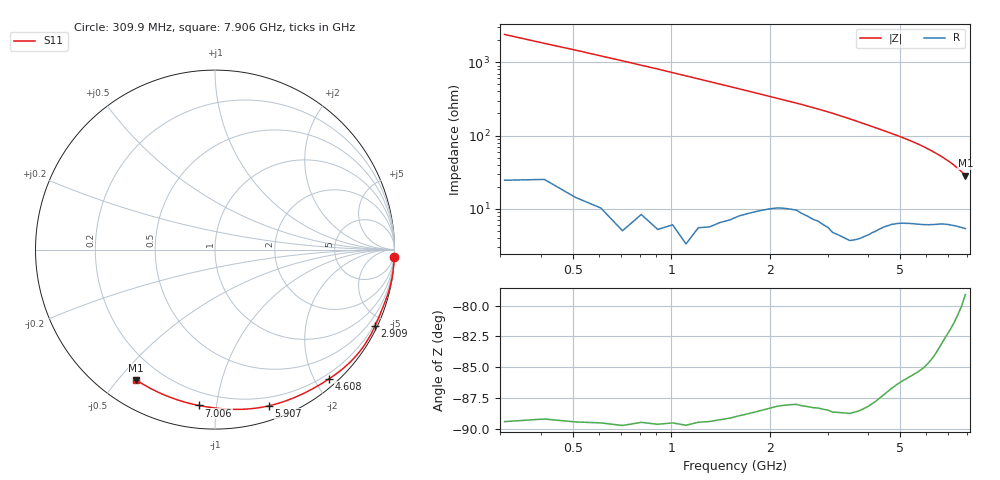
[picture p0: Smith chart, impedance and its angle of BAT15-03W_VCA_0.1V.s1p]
! Infineon Technologies  Discrete & RF Semiconductors
! BAT15-03W-E6327
! VCA = 0.1 V
! One-Port S-Parameters
# Hz  S  MA  R  50
!f  S11
!Hz  Mag  Ang
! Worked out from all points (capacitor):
!   77 points, 309.9 MHz to 7.906 GHz, reference 50 ohm
!   read as one part to ground: C = 215 fF near 309.9 MHz
!   lowest |Z| = 28.4 ohm at 7.906 GHz (marker M1)
!   S11 on the Smith chart (normalised r, x): 309.9 MHz: 0, -48; 2.909 GHz: 0.12, -4.39; 4.608 GHz: 0.12, -2.21; 5.907 GHz: 0.12, -1.40; 7.006 GHz: 0.12, -0.89; 7.906 GHz: 0.11, -0.56
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3.0985e8  0.9996 -2.4
9.0955e8  0.9992 -7.1
1.30935e9  0.9981 -10.5
1.70915e9  0.9949 -14.0
2.2089e9  0.9894 -18.6
2.50875e9  0.9881 -21.4
2.90855e9  0.988 -25.6
3.2084e9  0.9887 -29.1
3.50825e9  0.9881 -33.0
3.70815e9  0.9856 -35.7
4.10795e9  0.9766 -41.3
4.30785e9  0.9706 -44.2
4.6077e9  0.9604 -48.6
5.10745e9  0.9443 -56.4
5.30735e9  0.9387 -59.7
5.50725e9  0.9331 -63.2
5.70715e9  0.9274 -66.9
5.90705e9  0.921 -70.9
6.007e9  0.9171 -72.9
6.30685e9  0.9046 -79.4
6.50675e9  0.895 -83.9
6.70665e9  0.8854 -88.6
7.0065e9  0.8731 -95.9
7.10645e9  0.8698 -98.5
7.30635e9  0.8634 -103.8
7.50625e9  0.8577 -109.3
7.70615e9  0.853 -115.1
7.90605e9  0.8487 -121.2
